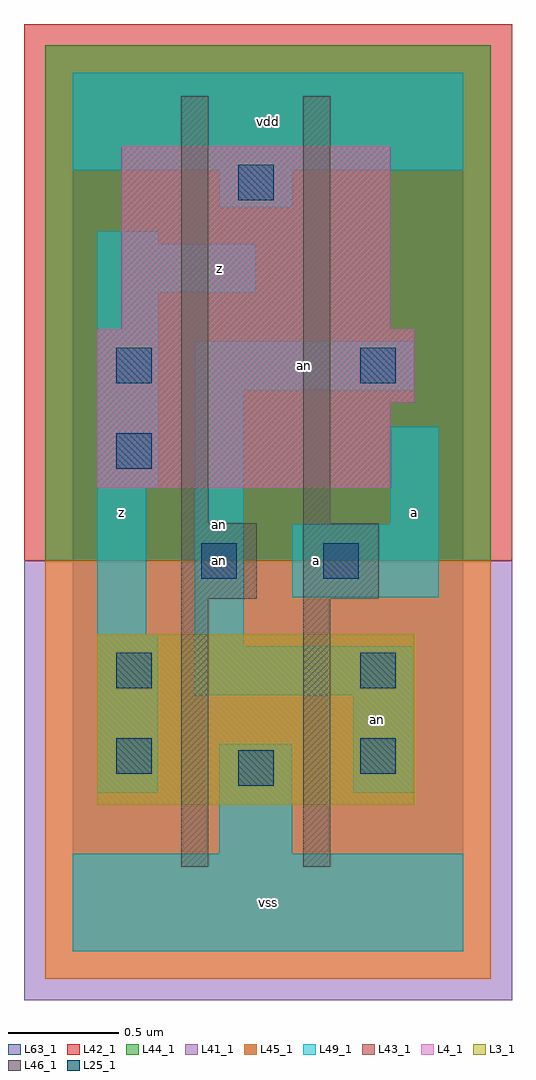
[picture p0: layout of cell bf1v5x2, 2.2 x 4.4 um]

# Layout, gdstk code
import gdstk
lib = gdstk.Library(unit=1e-6, precision=1e-09)
def R(c, l, rs):  # rectangles x0, y0, x1, y1
    for r in rs: c.add(gdstk.rectangle(r[:2], r[2:], *l))
L3_1 = (3, 1)
L4_1 = (4, 1)
L25_1 = (25, 1)
L41_1 = (41, 1)
L42_1 = (42, 1)
L43_1 = (43, 1)
L44_1 = (44, 1)
L45_1 = (45, 1)
L46_1 = (46, 1)
L49_1 = (49, 1)
L63_1 = (63, 1)

bf1v5x2 = lib.new_cell('bf1v5x2')
R(bf1v5x2, L3_1, [(0.11,0.66,1.54,1.43)])
R(bf1v5x2, L4_1, [(0.11,2.09,1.43,2.475), (0.11,2.475,1.54,2.805), (0.22,2.805,1.43,3.63)])
R(bf1v5x2, L25_1, [(0.745,0.745,0.905,0.905), (0.195,0.8,0.355,0.96), (1.295,0.8,1.455,0.96), (0.195,1.185,0.355,1.345), (1.295,1.185,1.455,1.345), (0.58,1.68,0.74,1.84), (1.13,1.68,1.29,1.84), (0.195,2.175,0.355,2.335), (0.195,2.56,0.355,2.72), (1.295,2.56,1.455,2.72), (0.745,3.385,0.905,3.545)])
R(bf1v5x2, L41_1, [(-0.22,-0.22,1.98,1.76)])
R(bf1v5x2, L42_1, [(-0.22,1.76,1.98,4.18)])
R(bf1v5x2, L43_1, [(0.11,0.66,1.54,1.43), (0.11,2.09,1.43,2.475), (0.11,2.475,1.54,2.805), (0.22,2.805,1.43,3.63)])
R(bf1v5x2, L44_1, [(-0.125,1.76,1.885,4.085)])
R(bf1v5x2, L45_1, [(-0.125,-0.125,1.885,1.76)])
R(bf1v5x2, L46_1, [(0.49,0.38,0.61,1.59), (1.04,0.38,1.16,1.59), (0.49,1.59,0.83,1.93), (1.04,1.59,1.38,1.93), (0.49,1.93,0.61,3.855), (1.04,1.93,1.16,3.855)])
R(bf1v5x2, L49_1, [(0,0,1.76,0.44), (0.66,0.44,0.99,0.935), (0.11,0.715,0.385,1.43), (1.265,0.715,1.54,1.155), (0.55,1.155,1.54,1.375), (0.55,1.375,0.77,2.53), (0.11,1.43,0.33,2.09), (0.99,1.595,1.65,1.925), (1.43,1.925,1.65,2.365), (0.11,2.09,0.385,2.97), (0.55,2.53,1.54,2.75), (0.11,2.97,0.825,3.19), (0.11,3.19,0.385,3.245), (0.66,3.355,0.99,3.52), (0,3.52,1.76,3.96)])
R(bf1v5x2, L63_1, [(0,0,1.76,3.96)])
bf1v5x2.add(gdstk.Label('an', (0.66,1.76), layer=49, texttype=1))
bf1v5x2.add(gdstk.Label('z', (0.22,1.98), layer=49, texttype=1))
bf1v5x2.add(gdstk.Label('an', (0.66,1.925), layer=49, texttype=1))
bf1v5x2.add(gdstk.Label('z', (0.66,3.08), layer=49, texttype=1))
bf1v5x2.add(gdstk.Label('vss', (0.88,0.22), layer=49, texttype=1))
bf1v5x2.add(gdstk.Label('a', (1.1,1.76), layer=49, texttype=1))
bf1v5x2.add(gdstk.Label('vdd', (0.88,3.74), layer=49, texttype=1))
bf1v5x2.add(gdstk.Label('an', (1.375,1.045), layer=49, texttype=1))
bf1v5x2.add(gdstk.Label('a', (1.54,1.98), layer=49, texttype=1))
bf1v5x2.add(gdstk.Label('an', (1.045,2.64), layer=49, texttype=1))

lib.write_gds('bf1v5x2.gds')
